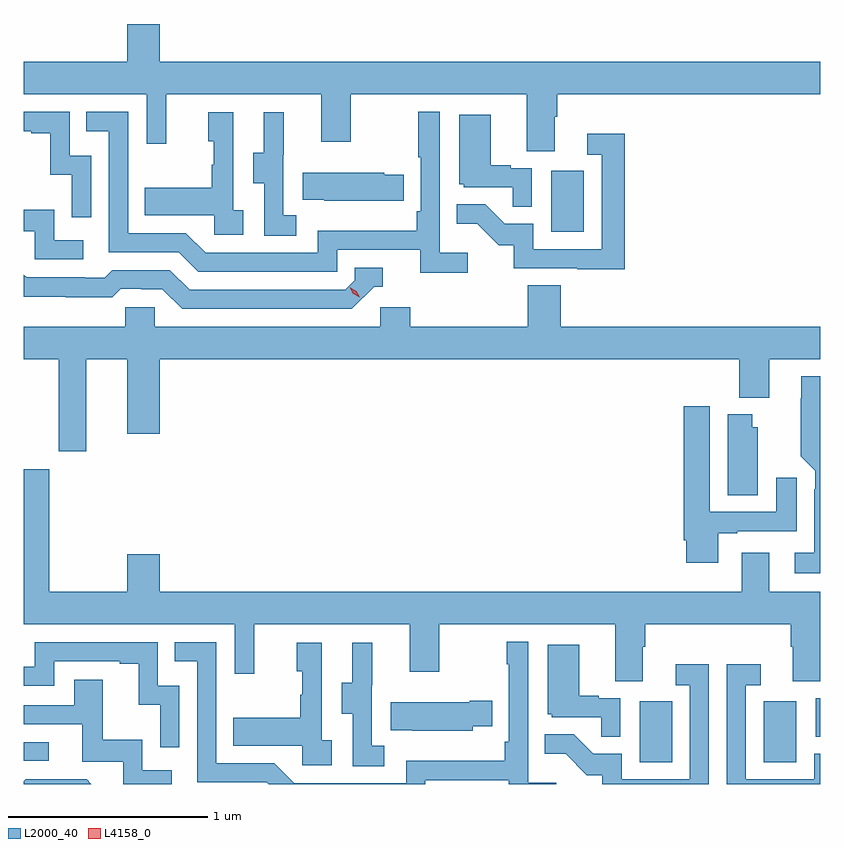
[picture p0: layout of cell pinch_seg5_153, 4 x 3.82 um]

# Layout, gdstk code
import gdstk
lib = gdstk.Library(unit=1e-6, precision=1e-09)
def R(c, l, rs):  # rectangles x0, y0, x1, y1
    for r in rs: c.add(gdstk.rectangle(r[:2], r[2:], *l))
def P(c, l, *ps):  # polygons
    for p in ps: c.add(gdstk.Polygon(p, *l))
L2000_40 = (2000, 40)
L4158_0 = (4158, 0)

pinch_seg5_153 = lib.new_cell('pinch_seg5_153')
R(pinch_seg5_153, L2000_40, [(1114.634,882.708,1114.798,883.015), (1115.258,882.708,1115.422,883.015), (1111.541,882.714,1111.666,882.807), (1115.52,882.835,1115.541,883.029), (1114.19,885.372,1114.354,885.679)])
P(pinch_seg5_153, L2000_40, [(1112.224,886.417),(1112.06,886.417),(1112.06,886.228),(1111.541,886.228),(1111.541,886.064),(1112.157,886.064),(1112.157,885.816),(1112.255,885.816),(1112.255,886.064),(1113.035,886.064),(1113.035,885.825),(1113.183,885.825),(1113.183,886.064),(1114.067,886.064),(1114.067,885.778),(1114.207,885.778),(1114.207,885.952),(1114.22,885.952),(1114.22,886.064),(1115.541,886.064),(1115.541,886.228),(1112.224,886.228)],
  [(1113.772,885.268),(1113.63,885.268),(1113.63,885.976),(1113.522,885.976),(1113.522,885.748),(1113.534,885.748),(1113.534,885.475),(1113.514,885.475),(1113.514,885.379),(1113.018,885.379),(1113.018,885.267),(1112.454,885.267),(1112.355,885.366),(1112.064,885.366),(1112.064,885.975),(1111.855,885.975),(1111.855,885.879),(1111.968,885.879),(1111.968,885.27),(1112.318,885.27),(1112.417,885.171),(1113.114,885.171),(1113.114,885.282),(1113.533,885.282),(1113.533,885.166),(1113.772,885.166)],
  [(1111.878,885.756),(1111.77,885.756),(1111.77,885.975),(1111.541,885.975),(1111.541,885.879),(1111.577,885.879),(1111.577,885.867),(1111.673,885.867),(1111.673,885.659),(1111.782,885.659),(1111.782,885.447),(1111.878,885.447)],
  [(1112.644,885.482),(1112.592,885.482),(1112.592,885.973),(1112.468,885.973),(1112.468,885.828),(1112.494,885.828),(1112.494,885.71),(1112.484,885.71),(1112.484,885.595),(1112.149,885.595),(1112.149,885.455),(1112.496,885.455),(1112.496,885.357),(1112.644,885.357)],
  [(1112.908,885.455),(1112.844,885.455),(1112.844,885.759),(1112.846,885.759),(1112.846,885.973),(1112.747,885.973),(1112.747,885.771),(1112.693,885.771),(1112.693,885.616),(1112.748,885.616),(1112.748,885.352),(1112.908,885.352)],
  [(1114.092,885.693),(1113.986,885.693),(1113.986,885.706),(1113.886,885.706),(1113.886,885.961),(1113.728,885.961),(1113.728,885.612),(1113.75,885.612),(1113.75,885.597),(1113.997,885.597),(1113.997,885.499),(1114.092,885.499)],
  [(1114.559,885.865),(1114.371,885.865),(1114.371,885.759),(1114.443,885.759),(1114.443,885.285),(1114.101,885.285),(1114.101,885.414),(1113.957,885.414),(1113.859,885.512),(1113.715,885.512),(1113.715,885.413),(1113.819,885.413),(1113.926,885.306),(1114.003,885.306),(1114.003,885.189),(1114.321,885.189),(1114.321,885.184),(1114.559,885.184)],
  [(1113.449,885.66),(1113.351,885.66),(1113.351,885.67),(1112.941,885.67),(1112.941,885.533),(1113.049,885.533),(1113.049,885.53),(1113.449,885.53)],
  [(1111.84,885.33),(1111.692,885.33),(1111.692,885.484),(1111.541,885.484),(1111.541,885.375),(1111.596,885.375),(1111.596,885.234),(1111.84,885.234)],
  [(1113.3,885.096),(1113.343,885.096),(1113.343,885.192),(1113.204,885.192),(1113.204,885.129),(1113.156,885.081),(1112.373,885.081),(1112.274,885.18),(1111.985,885.18),(1111.946,885.141),(1111.847,885.141),(1111.847,885.144),(1111.554,885.144),(1111.541,885.157),(1111.541,885.047),(1111.752,885.047),(1111.752,885.045),(1111.985,885.045),(1112.027,885.087),(1112.13,885.087),(1112.13,885.084),(1112.237,885.084),(1112.336,884.985),(1113.189,884.985)],
  [(1111.855,884.732),(1112.06,884.732),(1112.06,884.358),(1112.224,884.358),(1112.224,884.732),(1115.135,884.732),(1115.135,884.54),(1115.287,884.54),(1115.287,884.732),(1115.541,884.732),(1115.541,884.896),(1114.238,884.896),(1114.238,885.104),(1114.073,885.104),(1114.073,884.896),(1113.482,884.896),(1113.482,884.994),(1113.33,884.994),(1113.33,884.896),(1112.199,884.896),(1112.199,884.994),(1112.049,884.994),(1112.049,884.896),(1111.541,884.896),(1111.541,884.732),(1111.715,884.732),(1111.715,884.271),(1111.855,884.271)],
  [(1115.541,884.647),(1115.447,884.647),(1115.447,884.537),(1115.443,884.537),(1115.443,884.246),(1115.517,884.172),(1115.517,884.078),(1115.513,884.078),(1115.513,883.759),(1115.415,883.759),(1115.415,883.658),(1115.541,883.658)],
  [(1115.029,883.857),(1115.125,883.857),(1115.125,883.869),(1115.425,883.869),(1115.425,884.137),(1115.321,884.137),(1115.321,883.965),(1114.987,883.965),(1114.987,884.497),(1114.856,884.497),(1114.856,883.822),(1114.868,883.822),(1114.868,883.71),(1115.029,883.71)],
  [(1115.227,884.391),(1115.2,884.391),(1115.2,884.455),(1115.078,884.455),(1115.078,884.05),(1115.227,884.05)],
  [(1114.651,883.288),(1114.664,883.288),(1114.664,883.4),(1115.393,883.4),(1115.393,883.288),(1115.405,883.288),(1115.405,883.114),(1115.541,883.114),(1115.541,883.564),(1115.287,883.564),(1115.287,883.759),(1115.147,883.759),(1115.147,883.564),(1112.224,883.564),(1112.224,883.753),(1112.06,883.753),(1112.06,883.564),(1111.669,883.564),(1111.669,884.179),(1111.541,884.179),(1111.541,883.4),(1112.601,883.4),(1112.601,883.152),(1112.699,883.152),(1112.699,883.4),(1113.479,883.4),(1113.479,883.161),(1113.627,883.161),(1113.627,883.4),(1114.511,883.4),(1114.511,883.114),(1114.651,883.114)],
  [(1113.558,882.618),(1113.977,882.618),(1113.977,882.598),(1114.216,882.598),(1114.216,882.604),(1114.074,882.604),(1114.074,883.312),(1113.966,883.312),(1113.966,883.199),(1113.978,883.199),(1113.978,882.811),(1113.958,882.811),(1113.958,882.715),(1113.462,882.715),(1113.462,882.603),(1112.898,882.603),(1112.799,882.702),(1112.508,882.702),(1112.508,883.311),(1112.299,883.311),(1112.299,883.215),(1112.412,883.215),(1112.412,882.606),(1112.762,882.606),(1112.77,882.598),(1113.558,882.598)],
  [(1112.322,883.092),(1112.214,883.092),(1112.214,883.311),(1111.596,883.311),(1111.596,883.188),(1111.541,883.188),(1111.541,883.092),(1111.692,883.092),(1111.692,883.215),(1112.021,883.215),(1112.021,883.203),(1112.117,883.203),(1112.117,882.995),(1112.226,882.995),(1112.226,882.783),(1112.322,882.783)],
  [(1113.088,882.818),(1113.036,882.818),(1113.036,883.309),(1112.912,883.309),(1112.912,883.164),(1112.938,883.164),(1112.938,883.046),(1112.928,883.046),(1112.928,882.931),(1112.593,882.931),(1112.593,882.791),(1112.94,882.791),(1112.94,882.693),(1113.088,882.693)],
  [(1113.352,882.791),(1113.288,882.791),(1113.288,883.095),(1113.29,883.095),(1113.29,883.309),(1113.191,883.309),(1113.191,883.107),(1113.137,883.107),(1113.137,882.952),(1113.192,882.952),(1113.192,882.688),(1113.352,882.688)],
  [(1114.536,883.029),(1114.43,883.029),(1114.43,883.042),(1114.33,883.042),(1114.33,883.297),(1114.172,883.297),(1114.172,882.948),(1114.194,882.948),(1114.194,882.933),(1114.441,882.933),(1114.441,882.835),(1114.536,882.835)],
  [(1115.541,882.75),(1115.511,882.75),(1115.511,882.621),(1115.169,882.621),(1115.169,883.095),(1115.242,883.095),(1115.242,883.201),(1115.073,883.201),(1115.073,882.598),(1115.541,882.598)],
  [(1114.983,883.201),(1114.815,883.201),(1114.815,883.095),(1114.887,883.095),(1114.887,882.621),(1114.545,882.621),(1114.545,882.75),(1114.401,882.75),(1114.303,882.848),(1114.159,882.848),(1114.159,882.749),(1114.263,882.749),(1114.37,882.642),(1114.447,882.642),(1114.447,882.598),(1114.983,882.598)],
  [(1112.284,882.666),(1112.136,882.666),(1112.136,882.82),(1111.937,882.82),(1111.937,883.123),(1111.793,883.123),(1111.793,882.993),(1111.541,882.993),(1111.541,882.897),(1111.835,882.897),(1111.835,882.711),(1112.04,882.711),(1112.04,882.598),(1112.284,882.598)],
  [(1113.795,882.887),(1113.893,882.887),(1113.893,883.017),(1113.782,883.017),(1113.782,883.009),(1113.385,883.009),(1113.385,882.869),(1113.493,882.869),(1113.493,882.866),(1113.795,882.866)],
  [(1111.857,882.621),(1111.551,882.621),(1111.541,882.611),(1111.541,882.598),(1111.88,882.598)])
P(pinch_seg5_153, L4158_0, [(1113.227,885.043),(1113.196,885.062),(1113.179,885.094),(1113.179,885.094),(1113.179,885.094),(1113.21,885.075),(1113.227,885.043),(1113.227,885.043)])

lib.write_gds('pinch_seg5_153.gds')
